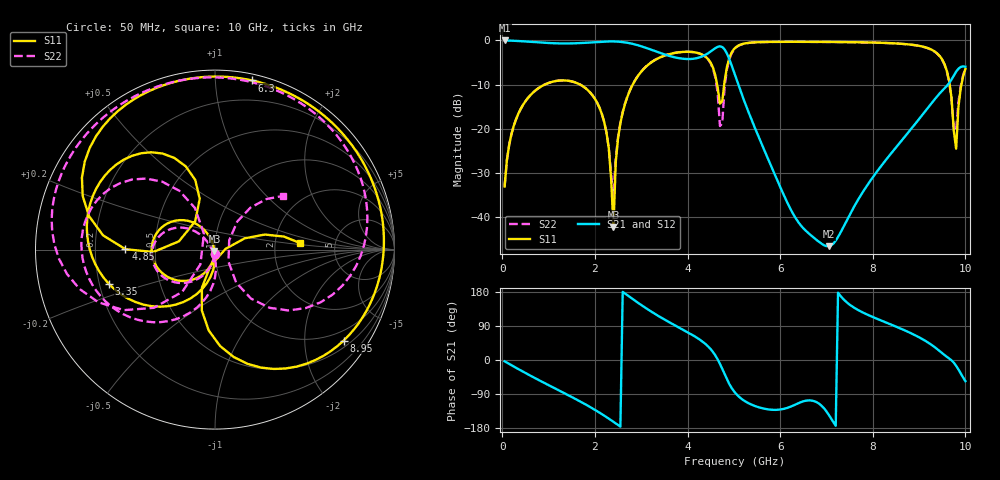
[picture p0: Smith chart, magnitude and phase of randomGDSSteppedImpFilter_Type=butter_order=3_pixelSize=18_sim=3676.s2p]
! freq	dB(S11)	phase(S11)	dB(S12)	phase(S12)
!  dB(S21)	phase(S21)	dB(S22)	phase(S22)
!S-par simulation data
#  GHz  S  DB  R 50
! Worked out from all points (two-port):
!   200 points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, 50 MHz to 10 GHz, reference 50 ohm
!   highest |S21| = -0.01 dB at 50 MHz (marker M1); lowest = -46.5 dB at 7.05 GHz (marker M2)
!   |S21| within 3 dB of the highest: start of sweep to 3.458 GHz; 4.428 GHz to 4.853 GHz (424.7 MHz wide, 9.15 % of centre)
!   lowest |S11| = -42.3 dB at 2.4 GHz (marker M3), VSWR 1.02, Z = 49.7 - j0.708 ohm
!   |S11| at or under -10 dB: start of sweep to 914.1 MHz; 1.682 GHz to 2.816 GHz (1.134 GHz wide, 50.4 % of centre); 9.66 GHz to 9.914 GHz (253.9 MHz wide, 2.59 % of centre) (the widest 3 of 4)
!   |S22| runs from -35.2 to -0.3 dB; largest |S21 - S12| = 0
!   S11 on the Smith chart (normalised r, x): 50 MHz: 1.00, -0.04; 3.35 GHz: 0.24, -0.15; 4.85 GHz: 0.33, +0.00; 6.3 GHz: 0.05, +1.24; 8.95 GHz: 0.68, -3.01; 10 GHz: 2.80, +0.26
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0.05  -33.03 -93.4  -0.01 -3.5  -0.01 -3.5  -32.98 -93.3
0.2  -21.09 -104.8  -0.06 -13.9  -0.06 -13.9  -21.09 -103.6
0.55  -13.06 -129.5  -0.27 -37.6  -0.27 -37.6  -13.06 -126.5
1.75  -10.42 150.9  -0.56 -114.0  -0.56 -114.0  -10.42 161.5
2.25  -20.84 114.3  -0.24 -150.7  -0.24 -150.7  -20.82 133.3
2.4  -42.29 -112.1  -0.23 -163.0  -0.23 -163.0  -35.18 -132.2
2.45  -27.50 -89.2  -0.25 -167.3  -0.25 -167.3  -26.80 -91.5
2.6  -16.27 -99.3  -0.37 179.8  -0.37 179.8  -16.17 -90.0
3.35  -4.13 -162.2  -2.61 117.7  -2.61 117.7  -4.10 -144.7
3.4  -3.87 -165.9  -2.80 114.1  -2.80 114.1  -3.84 -148.0
4.5  -5.05 114.0  -2.51 28.6  -2.51 28.6  -5.17 134.1
4.7  -14.30 124.8  -1.33 -10.2  -1.33 -10.2  -19.36 125.0
4.85  -6.04 179.7  -2.94 -50.9  -2.94 -50.9  -6.55 -136.4
5.05  -1.48 151.6  -8.58 -89.5  -8.58 -89.5  -1.56 -170.7
6.3  -0.31 77.6  -39.58 -119.2  -39.58 -119.2  -0.31 121.0
6.7  -0.32 61.0  -44.38 -107.6  -44.38 -107.6  -0.33 106.9
7.05  -0.34 46.9  -46.53 -144.7  -46.53 -144.7  -0.35 94.8
8.35  -0.60 -6.2  -26.15 95.8  -26.15 95.8  -0.61 45.2
8.95  -1.13 -35.3  -18.44 63.1  -18.44 63.1  -1.15 14.7
9.55  -5.38 -87.0  -10.82 13.1  -10.82 13.1  -5.49 -39.6
9.8  -24.48 4.4  -7.06 -15.3  -7.06 -15.3  -20.48 33.4
10  -6.42 4.3  -5.95 -55.8  -5.95 -55.8  -6.29 38.1
